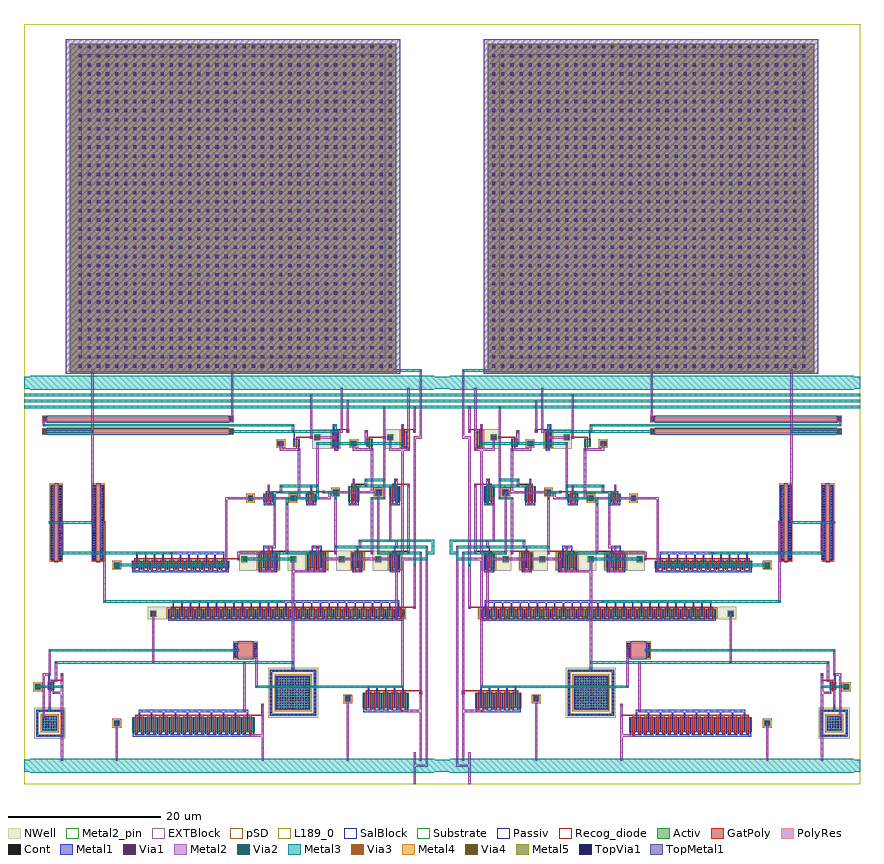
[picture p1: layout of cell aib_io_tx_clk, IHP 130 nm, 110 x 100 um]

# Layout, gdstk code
from math import pi, radians
import gdstk
lib = gdstk.Library(unit=1e-6, precision=1e-09)
def R(c, l, rs):  # rectangles x0, y0, x1, y1
    for r in rs: c.add(gdstk.rectangle(r[:2], r[2:], *l))
def A(c, l, x, y, w, h, nx, ny, dx, dy):  # array of equal rectangles
    R(c, l, [(x+i*dx, y+j*dy, x+i*dx+w, y+j*dy+h) for i in range(nx) for j in range(ny)])
Activ = (1, 0)
GatPoly = (5, 0)
Cont = (6, 0)
Metal1 = (8, 0)
Passiv = (9, 0)
Metal2 = (10, 0)
Metal2_pin = (10, 2)
pSD = (14, 0)
Via1 = (19, 0)
SalBlock = (28, 0)
Via2 = (29, 0)
Metal3 = (30, 0)
NWell = (31, 0)
Substrate = (40, 0)
Via3 = (49, 0)
Metal4 = (50, 0)
Via4 = (66, 0)
Metal5 = (67, 0)
Recog_diode = (99, 31)
EXTBlock = (111, 0)
TopVia1 = (125, 0)
TopMetal1 = (126, 0)
PolyRes = (128, 0)
L189_0 = (189, 0)

aib_io_tx = lib.new_cell('aib_io_tx')
A(aib_io_tx, Activ, 12.81, 29.21, 0.78, 0.78, 3, 1, 6.4, 0)
R(aib_io_tx, Activ, [(49.8,6.2,53.4,6.5), (49.8,6.5,50.1,9.5), (53.1,6.5,53.4,9.5), (24.65,6.8,40.75,8.8), (50.6,7,52.6,9), (42.41,7.61,43.19,8.39), (16.55,8.95,22.65,9.25), (16.55,9.25,16.85,14.75), (22.35,9.25,22.65,14.75), (49.8,9.5,53.4,9.8), (17.35,9.75,21.85,14.25), (4.4,10,10.4,12), (12.01,10.81,12.79,11.59), (51,12.4,51.87,13.4), (52.81,12.41,53.59,13.19), (16.55,14.75,22.65,15.05), (5,22,36.08,23), (37.61,22.01,38.39,22.79), (5.5,28.4,6.94,30.4), (10.41,28.4,11.85,30.4), (15.21,28.4,17.79,30.4), (21.61,28.4,24.19,30.4), (28,28.4,40.84,29.4), (42.41,28.41,43.19,29.19), (8.01,29.21,8.79,29.99), (5.5,37.2,6.94,39.2), (10.9,37.2,12.34,39.2), (16.5,37.2,17.94,38.2), (22.1,37.2,23.54,38.2), (19.21,37.21,19.99,37.99), (24.81,37.21,25.59,37.99), (8.01,38.01,8.79,38.79), (13.61,38.01,14.39,38.79), (4.5,44.4,5.37,46.4), (9.11,44.4,9.98,45.4), (13.6,44.4,14.47,46.4), (18.71,44.4,19.58,45.4), (11.21,44.41,11.99,45.19), (20.81,44.41,21.59,45.19), (6.41,45.21,7.19,45.99), (16.01,45.21,16.79,45.99)])
A(aib_io_tx, GatPoly, 25.02, 6.62, 0.35, 2.49, 20, 1, 0.79, 0)
A(aib_io_tx, GatPoly, 4.77, 9.82, 0.13, 2.49, 10, 1, 0.57, 0)
A(aib_io_tx, GatPoly, 5.37, 21.82, 0.13, 1.49, 54, 1, 0.57, 0)
A(aib_io_tx, GatPoly, 15.58, 28.22, 0.13, 2.49, 4, 1, 0.57, 0)
A(aib_io_tx, GatPoly, 21.98, 28.22, 0.13, 2.49, 4, 1, 0.57, 0)
A(aib_io_tx, GatPoly, 28.37, 28.22, 0.13, 1.49, 22, 1, 0.57, 0)
A(aib_io_tx, GatPoly, 4.23, 30.23, 0.34, 0.34, 3, 1, 4.8, 0)
A(aib_io_tx, GatPoly, 4.23, 30.4, 0.34, 0.245, 3, 1, 4.8, 0)
R(aib_io_tx, GatPoly, [(23.535,8.98,25.021,9.11), (25.02,8.98,40.38,9.11), (23.43,9.045,23.77,10.4), (23.43,10.23,23.77,10.57), (2.63,11.83,2.97,12.17), (2.63,12,2.97,12.245), (2.735,12.18,4.771,12.31), (4.77,12.18,10.03,12.31), (51.37,12.22,51.5,13.71), (49.935,13.58,51.371,13.71), (51.37,13.58,51.5,13.71), (49.83,13.645,50.17,14.4), (49.83,14.23,50.17,14.57), (24.42,16.6,27.28,18.6), (3.43,23.03,3.77,23.37), (3.535,23.18,5.371,23.31), (5.37,23.18,35.71,23.31), (3.43,23.2,3.77,23.245), (5.87,28.22,6,30.71), (6.44,28.22,6.57,30.71), (10.78,28.22,10.91,30.71), (11.35,28.22,11.48,30.71), (44.57,29.4,45.93,39.4), (50.07,29.4,51.43,39.4), (26.63,29.43,26.97,29.77), (26.735,29.58,28.371,29.71), (28.37,29.58,40.47,29.71), (26.63,29.6,26.97,29.645), (20.23,30.23,20.57,30.57), (20.23,30.4,20.57,30.645), (4.335,30.58,5.871,30.71), (5.87,30.58,6.57,30.71), (9.135,30.58,10.781,30.71), (10.78,30.58,11.48,30.71), (13.935,30.58,15.581,30.71), (15.58,30.58,17.42,30.71), (20.335,30.58,21.981,30.71), (21.98,30.58,23.82,30.71), (5.87,37.02,6,39.51), (6.44,37.02,6.57,39.51), (11.27,37.02,11.4,39.51), (11.84,37.02,11.97,39.51), (16.87,37.02,17,38.51), (17.44,37.02,17.57,38.51), (22.47,37.02,22.6,38.51), (23.04,37.02,23.17,38.51), (15.43,38.23,15.77,38.57), (21.03,38.23,21.37,38.57), (15.535,38.38,16.871,38.51), (16.87,38.38,17.57,38.51), (21.135,38.38,22.471,38.51), (22.47,38.38,23.17,38.51), (15.43,38.4,15.77,38.445), (21.03,38.4,21.37,38.445), (4.23,39.03,4.57,39.37), (9.83,39.03,10.17,39.37), (4.23,39.2,4.57,39.445), (9.83,39.2,10.17,39.445), (4.335,39.38,5.871,39.51), (5.87,39.38,6.57,39.51), (9.935,39.38,11.271,39.51), (11.27,39.38,11.97,39.51), (4.87,44.22,5,46.71), (9.48,44.22,9.61,45.71), (13.97,44.22,14.1,46.71), (19.08,44.22,19.21,45.71), (7.43,45.43,7.77,45.77), (17.03,45.43,17.37,45.77), (7.535,45.58,9.481,45.71), (9.48,45.58,9.61,45.71), (17.135,45.58,19.081,45.71), (19.08,45.58,19.21,45.71), (7.43,45.6,7.77,45.645), (17.03,45.6,17.37,45.645), (27.57,46.15,52.43,46.65), (3.43,46.23,3.77,46.57), (12.23,46.23,12.57,46.57), (3.43,46.4,3.77,46.645), (12.23,46.4,12.57,46.645), (3.535,46.58,4.871,46.71), (4.87,46.58,5,46.71), (12.335,46.58,13.971,46.71), (13.97,46.58,14.1,46.71), (27.57,47.75,52.43,48.25)])
A(aib_io_tx, Cont, 49.87, 6.27, 0.16, 0.16, 7, 2, 0.5, 3.3)
A(aib_io_tx, Cont, 49.87, 6.61, 0.16, 0.16, 1, 6, 0, 0.5)
A(aib_io_tx, Cont, 53.17, 6.61, 0.16, 0.16, 1, 6, 0, 0.5)
A(aib_io_tx, Cont, 24.72, 6.87, 0.16, 0.16, 21, 6, 0.79, 0.34)
A(aib_io_tx, Cont, 50.67, 7.07, 0.16, 0.16, 6, 6, 0.34, 0.34)
A(aib_io_tx, Cont, 16.62, 9.02, 0.16, 0.16, 12, 2, 0.5, 5.8)
A(aib_io_tx, Cont, 16.62, 9.36, 0.16, 0.16, 1, 11, 0, 0.5)
A(aib_io_tx, Cont, 22.42, 9.36, 0.16, 0.16, 1, 11, 0, 0.5)
A(aib_io_tx, Cont, 17.48, 9.88, 0.16, 0.16, 13, 13, 0.34, 0.34)
A(aib_io_tx, Cont, 4.47, 10.07, 0.16, 0.16, 11, 6, 0.57, 0.34)
A(aib_io_tx, Cont, 51.07, 12.48, 0.16, 0.16, 1, 3, 0, 0.34)
A(aib_io_tx, Cont, 51.64, 12.48, 0.16, 0.16, 1, 3, 0, 0.34)
A(aib_io_tx, Cont, 24.49, 16.67, 0.16, 0.16, 1, 6, 0, 0.34)
A(aib_io_tx, Cont, 27.05, 16.67, 0.16, 0.16, 1, 6, 0, 0.34)
A(aib_io_tx, Cont, 5.07, 22.08, 0.16, 0.16, 55, 3, 0.57, 0.34)
A(aib_io_tx, Cont, 5.57, 28.47, 0.16, 0.16, 3, 6, 0.57, 0.34)
A(aib_io_tx, Cont, 10.48, 28.47, 0.16, 0.16, 3, 6, 0.57, 0.34)
A(aib_io_tx, Cont, 15.28, 28.47, 0.16, 0.16, 5, 6, 0.57, 0.34)
A(aib_io_tx, Cont, 21.68, 28.47, 0.16, 0.16, 5, 6, 0.57, 0.34)
A(aib_io_tx, Cont, 28.07, 28.48, 0.16, 0.16, 23, 3, 0.57, 0.34)
A(aib_io_tx, Cont, 44.64, 29.56, 0.16, 0.16, 1, 29, 0, 0.34)
A(aib_io_tx, Cont, 45.7, 29.56, 0.16, 0.16, 1, 29, 0, 0.34)
A(aib_io_tx, Cont, 50.14, 29.56, 0.16, 0.16, 1, 29, 0, 0.34)
A(aib_io_tx, Cont, 51.2, 29.56, 0.16, 0.16, 1, 29, 0, 0.34)
A(aib_io_tx, Cont, 4.32, 30.32, 0.16, 0.16, 3, 1, 4.8, 0)
A(aib_io_tx, Cont, 5.57, 37.27, 0.16, 0.16, 3, 6, 0.57, 0.34)
A(aib_io_tx, Cont, 10.97, 37.27, 0.16, 0.16, 3, 6, 0.57, 0.34)
A(aib_io_tx, Cont, 16.57, 37.28, 0.16, 0.16, 3, 3, 0.57, 0.34)
A(aib_io_tx, Cont, 22.17, 37.28, 0.16, 0.16, 3, 3, 0.57, 0.34)
A(aib_io_tx, Cont, 4.57, 44.47, 0.16, 0.16, 1, 6, 0, 0.34)
A(aib_io_tx, Cont, 5.14, 44.47, 0.16, 0.16, 1, 6, 0, 0.34)
A(aib_io_tx, Cont, 13.67, 44.47, 0.16, 0.16, 1, 6, 0, 0.34)
A(aib_io_tx, Cont, 14.24, 44.47, 0.16, 0.16, 1, 6, 0, 0.34)
A(aib_io_tx, Cont, 9.18, 44.48, 0.16, 0.16, 1, 3, 0, 0.34)
A(aib_io_tx, Cont, 9.75, 44.48, 0.16, 0.16, 1, 3, 0, 0.34)
A(aib_io_tx, Cont, 18.78, 44.48, 0.16, 0.16, 1, 3, 0, 0.34)
A(aib_io_tx, Cont, 19.35, 44.48, 0.16, 0.16, 1, 3, 0, 0.34)
R(aib_io_tx, Cont, [(42.55,7.75,42.71,7.91), (42.89,7.75,43.05,7.91), (42.55,8.09,42.71,8.25), (42.89,8.09,43.05,8.25), (23.52,10.32,23.68,10.48), (12.15,10.95,12.31,11.11), (12.49,10.95,12.65,11.11), (12.15,11.29,12.31,11.45), (12.49,11.29,12.65,11.45), (2.72,11.92,2.88,12.08), (52.95,12.55,53.11,12.71), (53.29,12.55,53.45,12.71), (52.95,12.89,53.11,13.05), (53.29,12.89,53.45,13.05), (49.92,14.32,50.08,14.48), (37.75,22.15,37.91,22.31), (38.09,22.15,38.25,22.31), (37.75,22.49,37.91,22.65), (38.09,22.49,38.25,22.65), (3.52,23.12,3.68,23.28), (42.55,28.55,42.71,28.71), (42.89,28.55,43.05,28.71), (42.55,28.89,42.71,29.05), (42.89,28.89,43.05,29.05), (8.15,29.35,8.31,29.51), (8.49,29.35,8.65,29.51), (12.95,29.35,13.11,29.51), (13.29,29.35,13.45,29.51), (19.35,29.35,19.51,29.51), (19.69,29.35,19.85,29.51), (25.75,29.35,25.91,29.51), (26.09,29.35,26.25,29.51), (26.72,29.52,26.88,29.68), (8.15,29.69,8.31,29.85), (8.49,29.69,8.65,29.85), (12.95,29.69,13.11,29.85), (13.29,29.69,13.45,29.85), (19.35,29.69,19.51,29.85), (19.69,29.69,19.85,29.85), (25.75,29.69,25.91,29.85), (26.09,29.69,26.25,29.85), (20.32,30.32,20.48,30.48), (19.35,37.35,19.51,37.51), (19.69,37.35,19.85,37.51), (24.95,37.35,25.11,37.51), (25.29,37.35,25.45,37.51), (19.35,37.69,19.51,37.85), (19.69,37.69,19.85,37.85), (24.95,37.69,25.11,37.85), (25.29,37.69,25.45,37.85), (8.15,38.15,8.31,38.31), (8.49,38.15,8.65,38.31), (13.75,38.15,13.91,38.31), (14.09,38.15,14.25,38.31), (15.52,38.32,15.68,38.48), (21.12,38.32,21.28,38.48), (8.15,38.49,8.31,38.65), (8.49,38.49,8.65,38.65), (13.75,38.49,13.91,38.65), (14.09,38.49,14.25,38.65), (4.32,39.12,4.48,39.28), (9.92,39.12,10.08,39.28), (11.35,44.55,11.51,44.71), (11.69,44.55,11.85,44.71), (20.95,44.55,21.11,44.71), (21.29,44.55,21.45,44.71), (11.35,44.89,11.51,45.05), (11.69,44.89,11.85,45.05), (20.95,44.89,21.11,45.05), (21.29,44.89,21.45,45.05), (6.55,45.35,6.71,45.51), (6.89,45.35,7.05,45.51), (16.15,45.35,16.31,45.51), (16.49,45.35,16.65,45.51), (7.52,45.52,7.68,45.68), (17.12,45.52,17.28,45.68), (6.55,45.69,6.71,45.85), (6.89,45.69,7.05,45.85), (16.15,45.69,16.31,45.85), (16.49,45.69,16.65,45.85), (3.52,46.32,3.68,46.48), (12.32,46.32,12.48,46.48), (27.64,46.32,27.8,46.48), (52.2,46.32,52.36,46.48), (27.64,47.92,27.8,48.08), (52.2,47.92,52.36,48.08)])
A(aib_io_tx, Metal1, 24.72, 6.25, 0.16, 2.48, 11, 1, 1.58, 0)
A(aib_io_tx, Metal1, 25.51, 6.87, 0.16, 2.88, 10, 1, 1.58, 0)
A(aib_io_tx, Metal1, 4.47, 9.45, 0.16, 2.48, 6, 1, 1.14, 0)
A(aib_io_tx, Metal1, 5.04, 10.07, 0.16, 2.88, 5, 1, 1.14, 0)
A(aib_io_tx, Metal1, 5.07, 21.45, 0.16, 1.47, 28, 1, 1.14, 0)
A(aib_io_tx, Metal1, 5.64, 22.08, 0.16, 2.07, 27, 1, 1.14, 0)
A(aib_io_tx, Metal1, 15.28, 27.85, 0.16, 2.48, 3, 1, 1.14, 0)
A(aib_io_tx, Metal1, 21.68, 27.85, 0.16, 2.48, 3, 1, 1.14, 0)
A(aib_io_tx, Metal1, 28.07, 27.85, 0.16, 1.47, 12, 1, 1.14, 0)
A(aib_io_tx, Metal1, 28.64, 28.48, 0.16, 2.07, 11, 1, 1.14, 0)
A(aib_io_tx, Metal1, 12.95, 29.35, 0.5, 0.5, 3, 1, 6.4, 0)
A(aib_io_tx, Metal1, 4.25, 30.25, 0.3, 0.3, 3, 1, 4.8, 0)
A(aib_io_tx, Metal1, 10.97, 36.65, 1.3, 0.3, 3, 1, 5.6, 0)
R(aib_io_tx, Metal1, [(49.8,6.2,53.4,6.5), (24.72,6.25,40.68,6.55), (49.8,6.5,50.1,9.5), (53.1,6.5,53.4,9.5), (50.6,7,52.6,9), (42.55,7.75,43.05,8.25), (16.55,8.95,22.65,9.25), (16.55,9.25,16.85,14.75), (22.35,9.25,22.65,14.75), (4.47,9.45,10.33,9.75), (25.51,9.45,39.89,9.75), (49.8,9.5,53.4,9.8), (51.45,9.5,51.75,10.55), (17.41,9.81,21.79,14.19), (23.45,10.25,23.75,10.55), (12.15,10.95,12.65,11.45), (2.65,11.85,2.95,12.15), (50.65,11.85,51.23,12.15), (51.07,11.85,51.23,13.32), (51.64,12.48,51.8,14.55), (52.95,12.55,53.45,13.05), (5.04,12.65,9.76,12.95), (49.85,14.25,50.15,14.55), (51.45,14.25,51.8,14.55), (16.55,14.75,22.65,15.05), (19.45,14.75,19.75,16.15), (24.34,16.6,24.8,18.6), (26.9,16.6,27.36,18.6), (24.25,17.45,24.8,17.75), (26.65,17.45,27.36,17.75), (5.07,21.45,36.01,21.75), (37.75,22.15,38.25,22.65), (3.45,23.05,3.75,23.35), (5.64,23.85,35.44,24.15), (5.57,27.85,5.73,30.33), (5.57,27.85,6.87,28.15), (6.71,27.85,6.87,30.33), (10.48,27.85,10.64,30.33), (10.48,27.85,11.78,28.15), (11.62,27.85,11.78,30.33), (15.28,27.85,17.72,28.15), (21.68,27.85,24.12,28.15), (28.07,27.85,40.77,28.15), (6.14,28.47,6.3,31.35), (11.05,28.47,11.21,31.35), (15.85,28.47,16.01,31.35), (16.99,28.47,17.15,31.35), (22.25,28.47,22.41,31.35), (23.39,28.47,23.55,31.35), (42.55,28.55,43.05,29.05), (8.15,29.35,8.65,29.85), (26.65,29.45,26.95,29.75), (44.49,29.49,44.95,39.31), (45.55,29.49,46.01,39.31), (49.99,29.49,50.45,39.31), (51.05,29.49,51.51,39.31), (20.25,30.25,20.55,30.55), (28.64,30.25,40.2,30.55), (5.85,31.05,6.3,31.35), (10.65,31.05,11.21,31.35), (15.85,31.05,17.15,31.35), (22.25,31.05,23.55,31.35), (44.25,34.25,44.95,34.55), (45.55,34.25,46.15,34.55), (49.85,34.25,50.45,34.55), (51.05,34.25,51.75,34.55), (5.57,36.65,5.73,39.13), (5.57,36.65,6.87,36.95), (6.71,36.65,6.87,39.13), (10.97,36.65,11.13,39.13), (12.11,36.65,12.27,39.13), (16.57,36.65,16.73,38.12), (17.71,36.65,17.87,38.12), (22.17,36.65,22.33,38.12), (23.31,36.65,23.47,38.12), (6.14,37.27,6.3,40.15), (11.54,37.27,11.7,40.15), (17.14,37.28,17.3,39.35), (22.74,37.28,22.9,39.35), (19.35,37.35,19.85,37.85), (24.95,37.35,25.45,37.85), (8.15,38.15,8.65,38.65), (13.75,38.15,14.25,38.65), (15.45,38.25,15.75,38.55), (21.05,38.25,21.35,38.55), (4.25,39.05,4.55,39.35), (9.85,39.05,10.15,39.35), (17.05,39.05,17.35,39.35), (22.65,39.05,22.95,39.35), (5.85,39.85,6.3,40.15), (11.45,39.85,11.75,40.15), (4.25,43.85,4.73,44.15), (4.57,43.85,4.73,46.33), (9.05,43.85,9.35,44.15), (9.18,43.85,9.34,45.32), (13.67,43.85,13.83,46.33), (13.67,43.85,14.15,44.15), (18.65,43.85,18.95,44.15), (18.78,43.85,18.94,45.32), (5.14,44.47,5.3,47.35), (14.24,44.47,14.4,47.35), (9.75,44.48,9.91,46.55), (19.35,44.48,19.51,46.55), (11.35,44.55,11.85,45.05), (20.95,44.55,21.45,45.05), (6.55,45.35,7.05,45.85), (16.15,45.35,16.65,45.85), (7.45,45.45,7.75,45.75), (17.05,45.45,17.35,45.75), (27.49,46.1,27.95,46.7), (52.05,46.1,52.51,46.7), (3.45,46.25,3.75,46.55), (9.75,46.25,10.15,46.55), (12.25,46.25,12.55,46.55), (19.35,46.25,19.75,46.55), (27.45,46.25,27.95,46.55), (52.05,46.25,52.55,46.55), (5.05,47.05,5.35,47.35), (13.85,47.05,14.4,47.35), (27.49,47.7,27.95,48.3), (52.05,47.7,52.51,48.3), (27.45,47.85,27.95,48.15), (52.05,47.85,52.55,48.15)])
R(aib_io_tx, Passiv, [(7.5,56,47.5,96)])
A(aib_io_tx, Metal2, 1.85, 3.05, 0.3, 1.1, 3, 2, 0.8, 20)
A(aib_io_tx, Metal2, 12.25, 3.05, 0.3, 1.1, 1, 10, 0, 0.8)
A(aib_io_tx, Metal2, 23.45, 3.05, 0.3, 1.1, 1, 9, 0, 0.8)
A(aib_io_tx, Metal2, 42.65, 3.05, 0.3, 1.1, 1, 6, 0, 0.8)
A(aib_io_tx, Metal2, 49.85, 3.05, 0.3, 1.1, 1, 14, 0, 0.8)
A(aib_io_tx, Metal2, 1.85, 3.85, 0.3, 1.1, 1, 24, 0, 0.8)
A(aib_io_tx, Metal2, 2.65, 3.85, 0.3, 1.1, 1, 24, 0, 0.8)
A(aib_io_tx, Metal2, 52.25, 8.65, 0.3, 1.1, 1, 7, 0, 0.8)
A(aib_io_tx, Metal2, 2.65, 9.45, 1.1, 0.3, 3, 1, 0.8, 0)
A(aib_io_tx, Metal2, 25.85, 9.45, 0.3, 1.1, 1, 8, 0, 0.8)
A(aib_io_tx, Metal2, 51.45, 10.25, 0.3, 1.1, 1, 4, 0, 0.8)
A(aib_io_tx, Metal2, 5.05, 12.65, 0.3, 1.1, 1, 21, 0, 0.8)
A(aib_io_tx, Metal2, 24.25, 12.65, 0.3, 1.1, 1, 4, 0, 0.8)
A(aib_io_tx, Metal2, 50.65, 13.45, 0.3, 1.1, 1, 3, 0, 0.8)
A(aib_io_tx, Metal2, 19.45, 15.85, 0.3, 1.1, 1, 17, 0, 0.8)
A(aib_io_tx, Metal2, 24.25, 15.85, 0.3, 1.1, 3, 2, 13.6, 0.8)
A(aib_io_tx, Metal2, 37.85, 17.45, 0.3, 1.1, 1, 6, 0, 0.8)
A(aib_io_tx, Metal2, 5.85, 21.45, 0.3, 1.1, 1, 8, 0, 0.8)
A(aib_io_tx, Metal2, 1.85, 23.85, 0.3, 1.1, 3, 6, 0.8, 0.8)
A(aib_io_tx, Metal2, 44.25, 23.85, 0.3, 1.1, 1, 13, 0, 0.8)
A(aib_io_tx, Metal2, 5.85, 27.85, 0.3, 0.3, 3, 1, 4.8, 0)
A(aib_io_tx, Metal2, 5.85, 27.85, 0.3, 1.1, 3, 2, 4.8, 0.8)
A(aib_io_tx, Metal2, 15.45, 27.85, 1.1, 0.3, 5, 1, 0.8, 0)
A(aib_io_tx, Metal2, 21.85, 27.85, 0.3, 1.1, 1, 3, 0, 0.8)
A(aib_io_tx, Metal2, 28.25, 27.85, 0.3, 1.1, 1, 11, 0, 0.8)
A(aib_io_tx, Metal2, 1.85, 29.45, 0.3, 1.1, 3, 1, 0.8, 0)
A(aib_io_tx, Metal2, 5.85, 29.45, 1.1, 0.3, 12, 1, 0.8, 0)
A(aib_io_tx, Metal2, 3.45, 30.25, 0.3, 1.1, 3, 2, 0.8, 1.6)
A(aib_io_tx, Metal2, 8.25, 30.25, 0.3, 1.1, 1, 9, 0, 0.8)
A(aib_io_tx, Metal2, 9.05, 30.25, 0.3, 1.1, 1, 8, 0, 0.8)
A(aib_io_tx, Metal2, 13.85, 30.25, 0.3, 1.1, 1, 8, 0, 0.8)
A(aib_io_tx, Metal2, 20.25, 30.25, 0.3, 1.1, 1, 8, 0, 0.8)
A(aib_io_tx, Metal2, 22.65, 30.25, 1.1, 0.3, 5, 1, 0.8, 0)
A(aib_io_tx, Metal2, 49.85, 30.25, 0.3, 1.1, 1, 5, 0, 0.8)
A(aib_io_tx, Metal2, 3.45, 31.05, 0.3, 1.1, 4, 2, 0.8, 6.4)
A(aib_io_tx, Metal2, 21.85, 31.05, 0.3, 1.1, 1, 7, 0, 0.8)
A(aib_io_tx, Metal2, 6.65, 31.85, 0.3, 1.1, 1, 7, 0, 0.8)
A(aib_io_tx, Metal2, 3.45, 32.65, 0.3, 1.1, 3, 6, 0.8, 0.8)
A(aib_io_tx, Metal2, 45.85, 34.25, 0.3, 1.1, 1, 25, 0, 0.8)
A(aib_io_tx, Metal2, 5.85, 36.65, 0.3, 0.3, 3, 1, 5.6, 0)
A(aib_io_tx, Metal2, 9.05, 36.65, 0.3, 1.1, 3, 1, 2.4, 0)
A(aib_io_tx, Metal2, 17.05, 36.65, 0.3, 1.1, 3, 1, 5.6, 0)
A(aib_io_tx, Metal2, 8.25, 37.45, 0.3, 1.1, 3, 1, 3.2, 0)
A(aib_io_tx, Metal2, 13.85, 37.45, 0.3, 0.3, 3, 1, 5.6, 0)
A(aib_io_tx, Metal2, 14.65, 37.45, 1.1, 0.3, 17, 1, 0.8, 0)
A(aib_io_tx, Metal2, 18.65, 37.45, 0.3, 1.1, 1, 8, 0, 0.8)
A(aib_io_tx, Metal2, 3.45, 38.25, 0.3, 1.1, 4, 1, 0.8, 0)
A(aib_io_tx, Metal2, 8.25, 38.25, 1.1, 0.3, 8, 1, 0.8, 0)
A(aib_io_tx, Metal2, 15.45, 38.25, 0.3, 0.3, 3, 1, 0.8, 0)
A(aib_io_tx, Metal2, 16.25, 38.25, 0.3, 1.1, 1, 7, 0, 0.8)
A(aib_io_tx, Metal2, 3.45, 39.05, 0.3, 1.1, 1, 7, 0, 0.8)
A(aib_io_tx, Metal2, 5.05, 39.05, 0.3, 1.1, 1, 6, 0, 0.8)
A(aib_io_tx, Metal2, 5.85, 39.05, 0.3, 1.1, 3, 1, 1.6, 0)
A(aib_io_tx, Metal2, 7.45, 39.85, 0.3, 1.1, 1, 7, 0, 0.8)
A(aib_io_tx, Metal2, 9.05, 39.85, 0.3, 1.1, 1, 5, 0, 0.8)
A(aib_io_tx, Metal2, 4.25, 43.85, 0.3, 0.3, 4, 1, 4.8, 0)
A(aib_io_tx, Metal2, 4.25, 43.85, 1.1, 0.3, 3, 1, 0.8, 0)
A(aib_io_tx, Metal2, 9.05, 43.85, 1.1, 0.3, 3, 1, 0.8, 0)
A(aib_io_tx, Metal2, 11.45, 43.85, 0.3, 1.1, 3, 1, 2.4, 0)
A(aib_io_tx, Metal2, 18.65, 43.85, 1.1, 0.3, 3, 1, 0.8, 0)
A(aib_io_tx, Metal2, 3.45, 44.65, 0.3, 1.1, 3, 1, 0.8, 0)
A(aib_io_tx, Metal2, 11.45, 44.65, 0.3, 0.3, 3, 1, 4.8, 0)
A(aib_io_tx, Metal2, 5.05, 45.45, 0.3, 1.1, 3, 1, 2.4, 0)
A(aib_io_tx, Metal2, 13.85, 45.45, 1.1, 0.3, 3, 1, 0.8, 0)
A(aib_io_tx, Metal2, 17.05, 45.45, 0.3, 1.1, 1, 7, 0, 0.8)
A(aib_io_tx, Metal2, 2.65, 46.25, 0.3, 1.1, 4, 1, 0.8, 0)
A(aib_io_tx, Metal2, 7.45, 46.25, 0.3, 1.1, 1, 4, 0, 0.8)
A(aib_io_tx, Metal2, 12.25, 46.25, 0.3, 1.1, 1, 5, 0, 0.8)
A(aib_io_tx, Metal2, 13.05, 46.25, 0.3, 1.1, 1, 7, 0, 0.8)
A(aib_io_tx, Metal2, 52.25, 46.25, 0.3, 0.3, 1, 3, 0, 0.8)
A(aib_io_tx, Metal2, 2.65, 47.05, 0.3, 1.1, 3, 3, 0.8, 0.8)
A(aib_io_tx, Metal2, 27.45, 47.85, 0.3, 1.1, 1, 8, 0, 0.8)
A(aib_io_tx, Metal2, 2.65, 49.45, 0.3, 1.1, 1, 6, 0, 0.8)
A(aib_io_tx, Metal2, 4.25, 49.45, 0.3, 1.1, 1, 3, 0, 0.8)
R(aib_io_tx, Metal2, [(3.45,0,3.75,4.15), (3.45,1.45,3.75,2.55), (1.85,2.25,2.15,3.35), (1.85,2.25,2.95,2.55), (2.65,2.25,3.75,2.55), (3.45,2.25,3.75,3.35), (2.65,3.05,2.95,3.35), (12.25,3.05,12.55,3.35), (23.45,3.05,23.75,3.35), (42.65,3.05,42.95,3.35), (49.85,3.05,50.15,3.35), (23.45,6.25,24.55,6.55), (24.25,6.25,25.35,6.55), (25.05,6.25,25.35,6.55), (42.65,7.85,42.95,8.15), (52.25,8.65,52.55,8.95), (5.05,9.45,5.35,9.75), (25.85,9.45,26.15,9.75), (23.45,10.25,23.75,10.55), (51.45,10.25,51.75,10.55), (12.25,11.05,12.55,11.35), (2.65,11.85,2.95,12.15), (49.85,11.85,50.95,12.15), (50.65,11.85,50.95,12.15), (5.05,12.65,5.35,12.95), (5.05,12.65,5.35,12.95), (17.85,12.65,18.15,12.95), (17.85,12.65,18.15,12.95), (24.25,12.65,24.55,12.95), (49.85,12.65,50.15,12.95), (53.05,12.65,53.35,12.95), (53.05,12.65,53.35,12.95), (50.65,13.45,51.75,13.75), (49.85,14.25,50.15,14.55), (51.45,14.25,51.75,14.55), (51.45,14.25,51.75,15.35), (51.45,14.25,52.55,14.55), (51.45,15.05,51.75,16.15), (19.45,15.85,19.75,16.15), (19.45,15.85,19.75,16.15), (25.85,15.85,26.15,16.15), (37.85,15.85,38.15,16.15), (50.65,15.85,50.95,16.15), (24.25,17.45,24.55,17.75), (26.65,17.45,26.95,17.75), (26.65,17.45,26.95,17.75), (51.45,17.45,51.75,17.75), (5.85,21.45,6.15,21.75), (37.85,22.25,38.15,22.55), (3.45,23.05,3.75,23.35), (21.05,23.85,21.35,24.15), (21.05,23.85,21.35,24.15), (44.25,23.85,44.55,24.15), (10.65,27.85,11.75,28.15), (21.85,27.85,22.15,28.15), (21.85,27.85,22.95,28.15), (22.65,27.85,23.75,28.15), (28.25,27.85,28.55,28.15), (1.85,28.65,2.15,29.75), (2.65,28.65,2.95,29.75), (3.45,28.65,3.75,28.95), (28.25,28.65,28.55,28.95), (42.65,28.65,42.95,28.95), (42.65,28.65,42.95,28.95), (3.45,29.45,4.55,29.75), (4.25,29.45,5.35,29.75), (5.85,29.45,6.15,30.55), (8.25,29.45,8.55,29.75), (13.05,29.45,13.35,29.75), (19.45,29.45,19.75,29.75), (19.45,29.45,19.75,29.75), (25.85,29.45,26.15,29.75), (25.85,29.45,26.15,29.75), (26.65,29.45,26.95,29.75), (26.65,29.45,26.95,30.55), (1.85,30.25,2.15,31.35), (2.65,30.25,2.95,30.55), (4.25,30.25,4.55,30.55), (5.05,30.25,6.15,30.55), (8.25,30.25,8.55,30.55), (9.05,30.25,9.35,30.55), (13.85,30.25,14.15,30.55), (16.25,30.25,16.55,30.55), (16.25,30.25,16.55,31.35), (20.25,30.25,20.55,30.55), (21.85,30.25,22.15,30.55), (22.65,30.25,22.95,31.35), (35.45,30.25,35.75,30.55), (35.45,30.25,35.75,30.55), (49.85,30.25,50.15,30.55), (1.85,31.05,2.15,31.35), (4.25,31.05,4.55,31.35), (5.85,31.05,6.15,31.35), (10.65,31.05,10.95,31.35), (10.65,31.05,10.95,32.15), (13.85,31.05,14.15,31.35), (16.25,31.05,16.55,31.35), (21.85,31.05,22.95,31.35), (22.65,31.05,22.95,31.35), (5.85,31.85,6.15,32.15), (5.85,31.85,6.95,32.15), (6.65,31.85,6.95,32.15), (10.65,31.85,10.95,32.15), (44.25,34.25,44.55,34.55), (45.85,34.25,46.15,34.55), (45.85,34.25,46.15,34.55), (49.85,34.25,50.15,34.55), (51.45,34.25,51.75,34.55), (51.45,34.25,51.75,34.55), (5.85,36.65,6.15,36.95), (20.25,36.65,20.55,36.95), (21.85,36.65,22.15,36.95), (22.65,36.65,22.95,36.95), (5.85,37.45,6.95,37.75), (7.45,37.45,7.75,37.75), (7.45,37.45,7.75,38.55), (9.05,37.45,9.35,37.75), (7.45,38.25,7.75,39.35), (8.25,38.25,8.55,38.55), (9.05,38.25,9.35,39.35), (13.85,38.25,14.15,38.55), (15.45,38.25,15.75,38.55), (17.05,38.25,17.35,39.35), (21.05,38.25,21.35,38.55), (21.05,38.25,21.35,39.35), (22.65,38.25,22.95,38.55), (22.65,38.25,22.95,39.35), (4.25,39.05,4.55,39.35), (9.85,39.05,10.15,39.35), (9.85,39.05,10.15,40.15), (11.45,39.05,11.75,39.35), (11.45,39.05,11.75,40.15), (16.25,39.05,16.55,39.35), (17.05,39.05,17.35,39.35), (21.05,39.05,21.35,39.35), (22.65,39.05,22.95,39.35), (5.85,39.85,6.15,40.15), (7.45,39.85,7.75,40.15), (9.85,39.85,10.15,40.15), (11.45,39.85,11.75,40.15), (4.25,43.85,4.55,44.95), (6.65,43.85,6.95,44.95), (21.05,43.85,21.35,44.95), (5.05,44.65,5.35,44.95), (6.65,44.65,6.95,45.75), (9.85,44.65,10.15,44.95), (9.85,44.65,10.15,45.75), (13.85,44.65,14.15,45.75), (2.65,45.45,2.95,46.55), (2.65,45.45,3.75,45.75), (4.25,45.45,4.55,46.55), (6.65,45.45,6.95,45.75), (7.45,45.45,7.75,45.75), (13.85,45.45,14.15,46.55), (16.25,45.45,16.55,45.75), (17.05,45.45,17.35,45.75), (3.45,46.25,3.75,46.55), (9.85,46.25,10.15,46.55), (12.25,46.25,12.55,46.55), (13.05,46.25,14.15,46.55), (19.45,46.25,19.75,46.55), (19.45,46.25,19.75,47.35), (27.45,46.25,27.75,46.55), (27.45,46.25,27.75,46.55), (45.85,46.25,46.15,46.55), (52.25,46.25,52.55,46.55), (5.05,47.05,5.35,47.35), (13.85,47.05,14.15,47.35), (13.85,47.05,14.15,47.35), (19.45,47.05,19.75,47.35), (52.25,47.05,52.55,48.15), (27.45,47.85,27.75,48.15), (3.45,49.45,3.75,49.75), (7.45,49.45,7.75,49.75), (12.25,50.25,12.55,50.55), (17.05,51.05,17.35,51.35), (4.25,51.85,4.55,52.15), (13.05,51.85,13.35,52.15), (2.65,54.25,2.95,54.55), (27.45,54.25,27.75,54.55), (45.85,54.25,46.15,54.55)])
R(aib_io_tx, Metal2_pin, [(3.45,0,3.75,1)])
R(aib_io_tx, pSD, [(50.42,6.82,52.78,9.18), (42.23,7.43,43.37,8.57), (17.17,9.57,22.03,14.43), (11.83,10.63,12.97,11.77), (52.63,12.23,53.77,13.37), (24.24,16.42,27.46,18.78), (4.82,21.82,36.26,23.18), (5.32,28.22,7.12,30.58), (10.23,28.22,12.03,30.58), (15.03,28.22,17.97,30.58), (21.43,28.22,24.37,30.58), (42.23,28.23,43.37,29.37), (44.39,29.22,46.11,39.58), (49.89,29.22,51.61,39.58), (19.03,37.03,20.17,38.17), (24.63,37.03,25.77,38.17), (7.83,37.83,8.97,38.97), (13.43,37.83,14.57,38.97), (4.32,44.22,5.55,46.58), (13.42,44.22,14.65,46.58), (11.03,44.23,12.17,45.37), (20.63,44.23,21.77,45.37), (27.39,45.97,52.61,46.83), (27.39,47.57,52.61,48.43)])
A(aib_io_tx, Via1, 5.905, 27.905, 0.19, 0.19, 3, 1, 4.8, 0)
A(aib_io_tx, Via1, 13.105, 29.505, 0.19, 0.19, 3, 1, 6.4, 0)
A(aib_io_tx, Via1, 4.305, 30.305, 0.19, 0.19, 3, 1, 4.8, 0)
A(aib_io_tx, Via1, 5.905, 36.705, 0.19, 0.19, 4, 1, 5.6, 0)
A(aib_io_tx, Via1, 4.305, 43.905, 0.19, 0.19, 4, 1, 4.8, 0)
R(aib_io_tx, Via1, [(25.105,6.305,25.295,6.495), (42.705,7.905,42.895,8.095), (52.305,8.705,52.495,8.895), (5.105,9.505,5.295,9.695), (25.905,9.505,26.095,9.695), (23.505,10.305,23.695,10.495), (51.505,10.305,51.695,10.495), (12.305,11.105,12.495,11.295), (2.705,11.905,2.895,12.095), (50.705,11.905,50.895,12.095), (5.105,12.705,5.295,12.895), (17.905,12.705,18.095,12.895), (53.105,12.705,53.295,12.895), (49.905,14.305,50.095,14.495), (51.505,14.305,51.695,14.495), (19.505,15.905,19.695,16.095), (24.305,17.505,24.495,17.695), (26.705,17.505,26.895,17.695), (5.905,21.505,6.095,21.695), (37.905,22.305,38.095,22.495), (3.505,23.105,3.695,23.295), (21.105,23.905,21.295,24.095), (21.905,27.905,22.095,28.095), (28.305,27.905,28.495,28.095), (42.705,28.705,42.895,28.895), (8.305,29.505,8.495,29.695), (26.705,29.505,26.895,29.695), (20.305,30.305,20.495,30.495), (35.505,30.305,35.695,30.495), (5.905,31.105,6.095,31.295), (10.705,31.105,10.895,31.295), (16.305,31.105,16.495,31.295), (22.705,31.105,22.895,31.295), (44.305,34.305,44.495,34.495), (45.905,34.305,46.095,34.495), (49.905,34.305,50.095,34.495), (51.505,34.305,51.695,34.495), (19.505,37.505,19.695,37.695), (25.105,37.505,25.295,37.695), (8.305,38.305,8.495,38.495), (13.905,38.305,14.095,38.495), (15.505,38.305,15.695,38.495), (21.105,38.305,21.295,38.495), (4.305,39.105,4.495,39.295), (9.905,39.105,10.095,39.295), (17.105,39.105,17.295,39.295), (22.705,39.105,22.895,39.295), (5.905,39.905,6.095,40.095), (11.505,39.905,11.695,40.095), (11.505,44.705,11.695,44.895), (21.105,44.705,21.295,44.895), (6.705,45.505,6.895,45.695), (7.505,45.505,7.695,45.695), (16.305,45.505,16.495,45.695), (17.105,45.505,17.295,45.695), (3.505,46.305,3.695,46.495), (9.905,46.305,10.095,46.495), (12.305,46.305,12.495,46.495), (19.505,46.305,19.695,46.495), (27.505,46.305,27.695,46.495), (52.305,46.305,52.495,46.495), (5.105,47.105,5.295,47.295), (13.905,47.105,14.095,47.295), (27.505,47.905,27.695,48.095), (52.305,47.905,52.495,48.095)])
R(aib_io_tx, SalBlock, [(24.85,16.4,26.85,18.8), (45,29.2,45.5,39.6), (50.5,29.2,51,39.6), (28,45.95,52,46.85), (28,47.55,52,48.45)])
A(aib_io_tx, Via2, 15.505, 38.305, 0.19, 0.19, 3, 1, 0.8, 0)
A(aib_io_tx, Via2, 11.505, 39.105, 0.19, 0.19, 3, 1, 4.8, 0)
R(aib_io_tx, Via2, [(2.705,3.105,2.895,3.295), (12.305,3.105,12.495,3.295), (23.505,3.105,23.695,3.295), (42.705,3.105,42.895,3.295), (49.905,3.105,50.095,3.295), (5.105,12.705,5.295,12.895), (17.905,12.705,18.095,12.895), (24.305,12.705,24.495,12.895), (49.905,12.705,50.095,12.895), (53.105,12.705,53.295,12.895), (19.505,15.905,19.695,16.095), (25.905,15.905,26.095,16.095), (37.905,15.905,38.095,16.095), (50.705,15.905,50.895,16.095), (26.705,17.505,26.895,17.695), (51.505,17.505,51.695,17.695), (21.105,23.905,21.295,24.095), (44.305,23.905,44.495,24.095), (3.505,28.705,3.695,28.895), (28.305,28.705,28.495,28.895), (42.705,28.705,42.895,28.895), (19.505,29.505,19.695,29.695), (25.905,29.505,26.095,29.695), (2.705,30.305,2.895,30.495), (8.305,30.305,8.495,30.495), (16.305,30.305,16.495,30.495), (21.905,30.305,22.095,30.495), (35.505,30.305,35.695,30.495), (49.905,30.305,50.095,30.495), (1.905,31.105,2.095,31.295), (4.305,31.105,4.495,31.295), (13.905,31.105,14.095,31.295), (5.905,31.905,6.095,32.095), (6.705,31.905,6.895,32.095), (10.705,31.905,10.895,32.095), (45.905,34.305,46.095,34.495), (51.505,34.305,51.695,34.495), (5.905,36.705,6.095,36.895), (20.305,36.705,20.495,36.895), (21.905,36.705,22.095,36.895), (7.505,37.505,7.695,37.695), (9.105,37.505,9.295,37.695), (13.905,37.505,14.095,37.695), (22.705,38.305,22.895,38.495), (7.505,39.905,7.695,40.095), (9.905,39.905,10.095,40.095), (5.105,44.705,5.295,44.895), (9.905,44.705,10.095,44.895), (16.305,44.705,16.495,44.895), (27.505,46.305,27.695,46.495), (45.905,46.305,46.095,46.495), (52.305,46.305,52.495,46.495), (13.905,47.105,14.095,47.295), (19.505,47.105,19.695,47.295), (52.305,47.105,52.495,47.295), (3.505,49.505,3.695,49.695), (7.505,49.505,7.695,49.695), (12.305,50.305,12.495,50.495), (17.105,51.105,17.295,51.295), (4.305,51.905,4.495,52.095), (13.105,51.905,13.295,52.095), (2.705,54.305,2.895,54.495), (27.505,54.305,27.695,54.495), (45.905,54.305,46.095,54.495)])
A(aib_io_tx, Metal3, 1.05, 1.45, 1.1, 0.3, 66, 3, 0.8, 0.8)
A(aib_io_tx, Metal3, 1.05, 1.45, 0.3, 1.1, 67, 2, 0.8, 0.8)
A(aib_io_tx, Metal3, 5.05, 12.65, 1.1, 0.3, 24, 1, 0.8, 0)
A(aib_io_tx, Metal3, 49.85, 12.65, 1.1, 0.3, 4, 1, 0.8, 0)
A(aib_io_tx, Metal3, 19.45, 15.85, 1.1, 0.3, 39, 1, 0.8, 0)
A(aib_io_tx, Metal3, 26.65, 17.45, 1.1, 0.3, 31, 1, 0.8, 0)
A(aib_io_tx, Metal3, 21.05, 23.85, 1.1, 0.3, 29, 1, 0.8, 0)
A(aib_io_tx, Metal3, 28.25, 28.65, 1.1, 0.3, 18, 1, 0.8, 0)
A(aib_io_tx, Metal3, 19.45, 29.45, 1.1, 0.3, 8, 1, 0.8, 0)
A(aib_io_tx, Metal3, 2.65, 30.25, 1.1, 0.3, 7, 1, 0.8, 0)
A(aib_io_tx, Metal3, 16.25, 30.25, 1.1, 0.3, 7, 1, 0.8, 0)
A(aib_io_tx, Metal3, 35.45, 30.25, 1.1, 0.3, 18, 1, 0.8, 0)
A(aib_io_tx, Metal3, 1.85, 31.05, 1.1, 0.3, 15, 1, 0.8, 0)
A(aib_io_tx, Metal3, 1.05, 31.85, 1.1, 0.3, 12, 1, 0.8, 0)
A(aib_io_tx, Metal3, 45.85, 34.25, 1.1, 0.3, 7, 1, 0.8, 0)
A(aib_io_tx, Metal3, 5.85, 36.65, 0.3, 1.1, 1, 3, 0, 0.8)
A(aib_io_tx, Metal3, 16.25, 37.45, 1.1, 0.3, 5, 1, 0.8, 0)
A(aib_io_tx, Metal3, 15.45, 38.25, 0.3, 0.3, 3, 1, 0.8, 0)
A(aib_io_tx, Metal3, 17.05, 38.25, 1.1, 0.3, 7, 1, 0.8, 0)
A(aib_io_tx, Metal3, 5.85, 39.05, 1.1, 0.3, 7, 1, 0.8, 0)
A(aib_io_tx, Metal3, 11.45, 39.05, 0.3, 0.3, 3, 1, 4.8, 0)
A(aib_io_tx, Metal3, 16.25, 39.05, 1.1, 0.3, 6, 1, 0.8, 0)
A(aib_io_tx, Metal3, 7.45, 39.85, 1.1, 0.3, 3, 1, 0.8, 0)
A(aib_io_tx, Metal3, 5.05, 44.65, 1.1, 0.3, 14, 1, 0.8, 0)
A(aib_io_tx, Metal3, 13.85, 46.25, 1.1, 0.3, 17, 1, 0.8, 0)
A(aib_io_tx, Metal3, 45.85, 46.25, 1.1, 0.3, 8, 1, 0.8, 0)
A(aib_io_tx, Metal3, 19.45, 47.05, 1.1, 0.3, 41, 1, 0.8, 0)
A(aib_io_tx, Metal3, 0, 49.45, 55, 0.3, 1, 3, 0, 0.8)
A(aib_io_tx, Metal3, 1.05, 49.45, 1.1, 0.3, 66, 6, 0.8, 0.8)
A(aib_io_tx, Metal3, 1.05, 51.85, 0.3, 1.1, 67, 2, 0.8, 0.8)
A(aib_io_tx, Metal3, 2.65, 54.25, 1.1, 0.3, 57, 1, 0.8, 0)
R(aib_io_tx, Metal3, [(0,1.6,55,3.2), (2.65,3.05,2.95,3.35), (12.25,3.05,12.55,3.35), (23.45,3.05,23.75,3.35), (42.65,3.05,42.95,3.35), (49.85,3.05,50.15,3.35), (5.05,12.65,5.35,12.95), (17.85,12.65,18.15,12.95), (24.25,12.65,24.55,12.95), (49.85,12.65,50.15,12.95), (53.05,12.65,53.35,12.95), (19.45,15.85,19.75,16.15), (25.85,15.85,26.15,16.15), (37.85,15.85,38.15,16.15), (50.65,15.85,50.95,16.15), (26.65,17.45,26.95,17.75), (51.45,17.45,51.75,17.75), (21.05,23.85,21.35,24.15), (44.25,23.85,44.55,24.15), (3.45,28.65,3.75,29.75), (3.45,28.65,3.75,28.95), (28.25,28.65,28.55,28.95), (42.65,28.65,42.95,28.95), (1.85,29.45,2.95,29.75), (1.85,29.45,2.15,30.55), (2.65,29.45,3.75,29.75), (19.45,29.45,19.75,29.75), (25.85,29.45,26.15,29.75), (1.05,30.25,2.15,30.55), (1.05,30.25,1.35,31.35), (2.65,30.25,2.95,30.55), (8.25,30.25,8.55,30.55), (16.25,30.25,16.55,30.55), (21.85,30.25,22.15,30.55), (35.45,30.25,35.75,30.55), (49.85,30.25,50.15,30.55), (1.05,31.05,1.35,32.15), (1.85,31.05,2.15,31.35), (4.25,31.05,4.55,31.35), (13.85,31.05,14.15,31.35), (5.85,31.85,6.15,32.15), (6.65,31.85,6.95,32.15), (10.65,31.85,10.95,32.15), (45.85,34.25,46.15,34.55), (51.45,34.25,51.75,34.55), (5.85,36.65,6.15,36.95), (20.25,36.65,20.55,37.75), (20.25,36.65,20.55,36.95), (21.85,36.65,22.15,37.75), (21.85,36.65,22.15,36.95), (7.45,37.45,8.55,37.75), (7.45,37.45,7.75,37.75), (8.25,37.45,9.35,37.75), (9.05,37.45,9.35,37.75), (13.85,37.45,14.15,38.55), (13.85,37.45,14.15,37.75), (16.25,37.45,16.55,38.55), (21.85,37.45,22.15,38.55), (13.85,38.25,14.95,38.55), (14.65,38.25,15.75,38.55), (16.25,38.25,16.55,39.35), (22.65,38.25,22.95,38.55), (7.45,39.85,7.75,40.15), (9.85,39.85,10.15,40.15), (5.05,44.65,5.35,44.95), (9.85,44.65,10.15,44.95), (16.25,44.65,16.55,44.95), (13.85,46.25,14.15,47.35), (27.45,46.25,27.75,46.55), (45.85,46.25,46.15,46.55), (52.25,46.25,52.55,46.55), (13.85,47.05,14.15,47.35), (19.45,47.05,19.75,47.35), (52.25,47.05,52.55,47.35), (3.45,49.45,3.75,49.75), (7.45,49.45,7.75,49.75), (12.25,50.25,12.55,50.55), (17.05,51.05,17.35,51.35), (4.25,51.85,4.55,52.15), (13.05,51.85,13.35,52.15), (0,52,55,53.6), (6,54.2,49,97.4), (2.65,54.25,2.95,54.55), (27.45,54.25,27.75,54.55), (45.85,54.25,46.15,54.55)])
R(aib_io_tx, NWell, [(49.56,5.96,53.64,10.04), (16.31,8.71,22.89,15.29), (4.69,21.69,38.7,23.31), (5.19,28.09,9.1,30.71), (10.1,28.09,13.9,30.71), (14.9,28.09,20.3,30.71), (21.3,28.09,26.7,30.71), (4.19,44.09,7.5,46.71), (13.29,44.09,17.1,46.71)])
R(aib_io_tx, Substrate, [(42.41,7.61,43.19,8.39), (12.01,10.81,12.79,11.59), (52.81,12.41,53.59,13.19), (42.41,28.41,43.19,29.19), (19.21,37.21,19.99,37.99), (24.81,37.21,25.59,37.99), (8.01,38.01,8.79,38.79), (13.61,38.01,14.39,38.79), (11.21,44.41,11.99,45.19), (20.81,44.41,21.59,45.19)])
A(aib_io_tx, Via3, 6.6, 54.8, 0.19, 0.19, 35, 36, 1.2, 1.2)
R(aib_io_tx, Metal4, [(6,54.2,49,97.4)])
A(aib_io_tx, Via4, 6.6, 54.8, 0.19, 0.19, 35, 36, 1.2, 1.2)
R(aib_io_tx, Metal5, [(6,54.2,49,97.4)])
R(aib_io_tx, Recog_diode, [(50.6,7,52.6,9), (17.35,9.75,21.85,14.25)])
R(aib_io_tx, EXTBlock, [(24.24,16.42,27.46,18.78), (44.39,29.22,46.11,39.58), (49.89,29.22,51.61,39.58), (27.39,45.97,52.61,46.83), (27.39,47.57,52.61,48.43)])
A(aib_io_tx, TopVia1, 6.6, 54.8, 0.42, 0.42, 35, 36, 1.2, 1.2)
R(aib_io_tx, TopMetal1, [(5.5,54,49.5,98)])
R(aib_io_tx, PolyRes, [(24.85,16.6,26.85,18.6), (45,29.4,45.5,39.4), (50.5,29.4,51,39.4), (28,46.15,52,46.65), (28,47.75,52,48.25)])
R(aib_io_tx, L189_0, [(0,0,55,100)])
aib_io_tx.add(gdstk.Label('VSS', (1,2.4), layer=30, texttype=1))
aib_io_tx.add(gdstk.Label('VDDIO', (1,52.8), layer=30, texttype=1))
aib_io_tx.add(gdstk.Label('OE', (1,49.6), layer=30, texttype=1))
aib_io_tx.add(gdstk.Label('PUN', (1,50.4), layer=30, texttype=1))
aib_io_tx.add(gdstk.Label('PD', (1,51.2), layer=30, texttype=1))
aib_io_tx.add(gdstk.Label('PAD', (27.5,76), layer=126, texttype=1))
aib_io_tx.add(gdstk.Label('sub!', (12.4,11.2), layer=63, texttype=0))
aib_io_tx.add(gdstk.Label('well', (16.7,12), layer=63, texttype=0))
aib_io_tx.add(gdstk.Label('sub!', (42.8,8), layer=63, texttype=0))
aib_io_tx.add(gdstk.Label('well', (49.95,8), layer=63, texttype=0))
aib_io_tx.add(gdstk.Label('sub!', (53.2,12.8), layer=63, texttype=0))
aib_io_tx.add(gdstk.Label('well', (38,22.4), layer=63, texttype=0))
aib_io_tx.add(gdstk.Label('sub!', (42.8,28.8), layer=63, texttype=0))
aib_io_tx.add(gdstk.Label('well', (8.4,29.6), layer=63, texttype=0))
aib_io_tx.add(gdstk.Label('well', (13.2,29.6), layer=63, texttype=0))
aib_io_tx.add(gdstk.Label('well', (19.6,29.6), layer=63, texttype=0))
aib_io_tx.add(gdstk.Label('well', (26,29.6), layer=63, texttype=0))
aib_io_tx.add(gdstk.Label('sub!', (8.4,38.4), layer=63, texttype=0))
aib_io_tx.add(gdstk.Label('sub!', (14,38.4), layer=63, texttype=0))
aib_io_tx.add(gdstk.Label('sub!', (19.6,37.6), layer=63, texttype=0))
aib_io_tx.add(gdstk.Label('sub!', (25.2,37.6), layer=63, texttype=0))
aib_io_tx.add(gdstk.Label('well', (6.8,45.6), layer=63, texttype=0))
aib_io_tx.add(gdstk.Label('sub!', (11.6,44.8), layer=63, texttype=0))
aib_io_tx.add(gdstk.Label('well', (16.4,45.6), layer=63, texttype=0))
aib_io_tx.add(gdstk.Label('sub!', (21.2,44.8), layer=63, texttype=0))
aib_io_tx.add(gdstk.Label('DIN', (3.6,0.5), layer=10, texttype=1))

aib_io_tx_clk = lib.new_cell('aib_io_tx_clk')
R(aib_io_tx_clk, L189_0, [(0,0,110,100)])
aib_io_tx_clk.add(gdstk.Reference(aib_io_tx, (55,0), rotation=pi, x_reflection=True))
aib_io_tx_clk.add(gdstk.Reference(aib_io_tx, (55,0)))

lib.write_gds('aib_io_tx_clk.gds')
